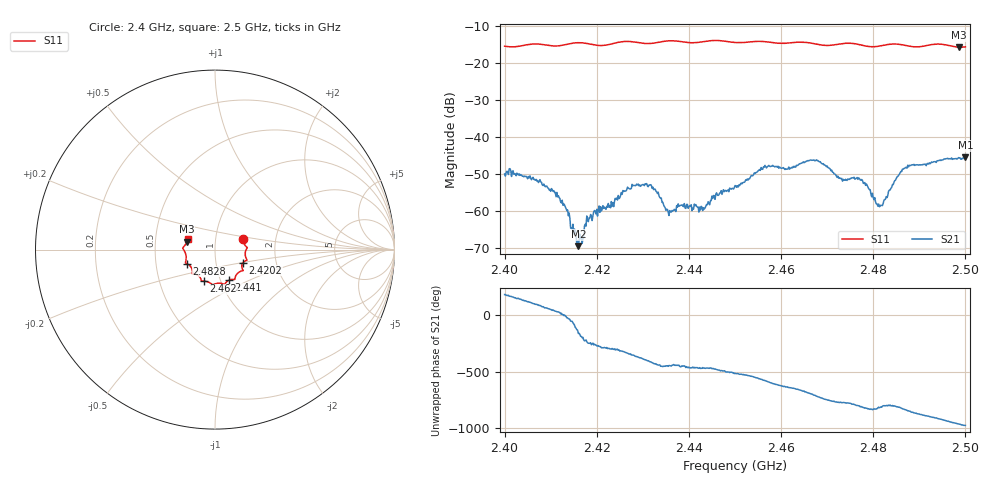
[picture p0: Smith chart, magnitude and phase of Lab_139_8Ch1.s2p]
# Hz S RI R 50
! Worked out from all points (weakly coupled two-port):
!   601 points, 2.4 GHz to 2.5 GHz, reference 50 ohm
!   highest |S21| = -45.46 dB at 2.5 GHz (marker M1); lowest = -69.4 dB at 2.416 GHz (marker M2)
!   lowest |S11| = -15.8 dB at 2.4987 GHz (marker M3), VSWR 1.39, Z = 36.3 + j3.27 ohm
!   |S11| at or under -10 dB: start of sweep to end of sweep
!   S12 and S22 are empty: the file has one direction only
!   S11 on the Smith chart (normalised r, x): 2.4 GHz: 1.36, +0.17; 2.4202 GHz: 1.35, -0.20; 2.441 GHz: 1.10, -0.39; 2.462 GHz: 0.83, -0.30; 2.4828 GHz: 0.72, -0.12; 2.5 GHz: 0.73, +0.09
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2.4e9  0.1572 0.0607  -0.0032 2.91e-05  0 0  0 0
2.410833e9  0.1687 -0.0163  0.00148 0.00103  0 0  0 0
2.416e9  0.1783 -0.0581  -0.000325 -9.75e-05  0 0  0 0
2.416667e9  0.1776 -0.0593  -0.000438 8.82e-05  0 0  0 0
2.418333e9  0.1699 -0.0625  -0.000282 0.00077  0 0  0 0
2.420167e9  0.1569 -0.0722  7.92e-05 0.000859  0 0  0 0
2.428167e9  0.1505 -0.1184  0.00224 4.72e-05  0 0  0 0
2.433333e9  0.1129 -0.1522  0.000244 -0.0018  0 0  0 0
2.4355e9  0.1104 -0.1648  -4.9e-05 -0.000975  0 0  0 0
2.441e9  0.0774 -0.1705  -0.000304 -0.00103  0 0  0 0
2.45e9  0.0272 -0.1867  -0.002 -0.000984  0 0  0 0
2.456167e9  -0.0153 -0.1939  -0.00321 0.00231  0 0  0 0
2.462e9  -0.0614 -0.1762  0.000775 0.00376  0 0  0 0
2.466667e9  -0.0775 -0.1672  0.00451 0.00185  0 0  0 0
2.473333e9  -0.1222 -0.1355  0.00152 -0.00204  0 0  0 0
2.477167e9  -0.126 -0.1224  4.07e-05 -0.00266  0 0  0 0
2.481167e9  -0.1453 -0.0849  -6.29e-05 -0.00125  0 0  0 0
2.482833e9  -0.1578 -0.0779  0.00028 -0.00156  0 0  0 0
2.483333e9  -0.1606 -0.0765  0.000467 -0.00182  0 0  0 0
2.488e9  -0.1604 -0.0486  -0.00262 -0.00324  0 0  0 0
2.498667e9  -0.1568 0.0438  -0.00235 0.0047  0 0  0 0
2.5e9  -0.1532 0.0618  -0.00147 0.00513  0 0  0 0
